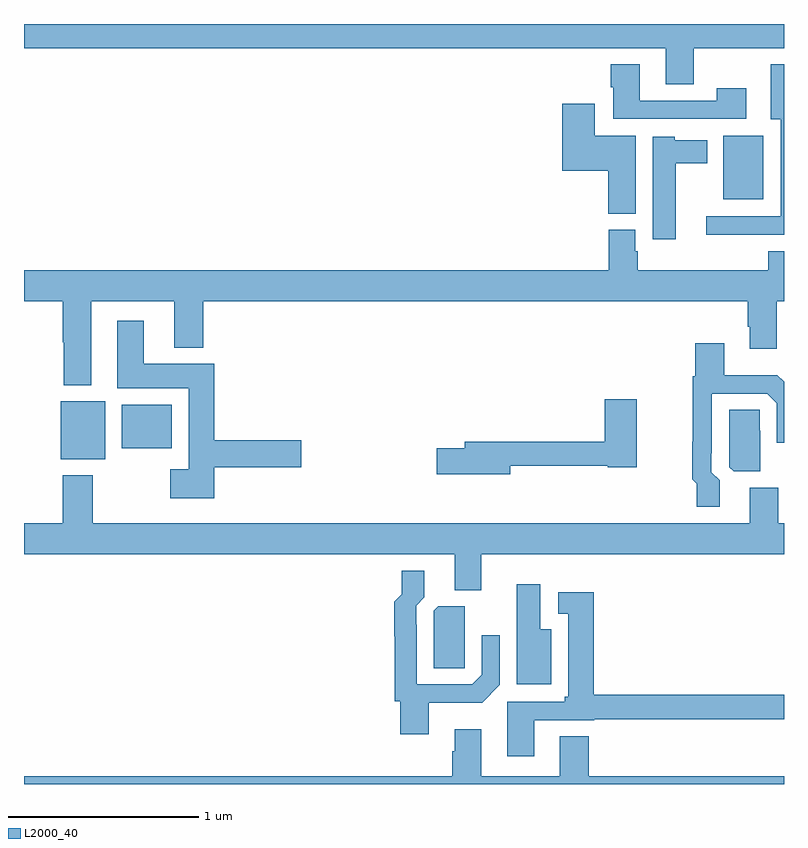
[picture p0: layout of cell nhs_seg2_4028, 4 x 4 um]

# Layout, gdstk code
import gdstk
lib = gdstk.Library(unit=1e-6, precision=1e-09)
def R(c, l, rs):  # rectangles x0, y0, x1, y1
    for r in rs: c.add(gdstk.rectangle(r[:2], r[2:], *l))
def P(c, l, *ps):  # polygons
    for p in ps: c.add(gdstk.Polygon(p, *l))
L2000_40 = (2000, 40)

nhs_seg2_4028 = lib.new_cell('nhs_seg2_4028')
R(nhs_seg2_4028, L2000_40, [(327.194,609.509,327.427,609.814), (327.515,609.566,327.778,609.796), (330.68,610.877,330.892,611.212)])
P(nhs_seg2_4028, L2000_40, [(330.525,611.672),(331,611.672),(331,611.8),(327,611.8),(327,611.672),(330.377,611.672),(330.377,611.482),(330.525,611.482)],
  [(330.802,611.461),(330.646,611.461),(330.646,611.397),(330.241,611.397),(330.241,611.587),(330.089,611.587),(330.089,611.467),(330.101,611.467),(330.101,611.301),(330.802,611.301)],
  [(331,611.587),(330.929,611.587),(330.929,611.3),(330.983,611.3),(330.983,610.788),(330.591,610.788),(330.591,610.691),(331,610.691)],
  [(330.22,611.212),(330.004,611.212),(330.004,611.38),(329.834,611.38),(329.834,611.027),(330.074,611.027),(330.074,610.801),(330.22,610.801)],
  [(330.43,611.066),(330.595,611.066),(330.595,611.188),(330.426,611.188),(330.426,611.206),(330.308,611.206),(330.308,610.668),(330.43,610.668)],
  [(327.355,610.34),(327.791,610.34),(327.791,610.097),(327.944,610.097),(327.944,610.34),(330.809,610.34),(330.809,610.207),(330.821,610.207),(330.821,610.092),(330.961,610.092),(330.961,610.34),(331,610.34),(331,610.603),(330.917,610.603),(330.917,610.504),(330.23,610.504),(330.23,610.605),(330.217,610.605),(330.217,610.716),(330.077,610.716),(330.077,610.504),(327,610.504),(327,610.34),(327.203,610.34),(327.203,610.125),(327.208,610.125),(327.208,609.899),(327.355,609.899)],
  [(328.001,609.466),(328.459,609.466),(328.459,609.608),(328.001,609.608),(328.001,610.012),(327.631,610.012),(327.631,610.237),(327.491,610.237),(327.491,609.884),(327.866,609.884),(327.866,609.457),(327.771,609.457),(327.771,609.305),(328.001,609.305)],
  [(330.661,609.398),(330.618,609.441),(330.618,609.541),(330.621,609.541),(330.621,609.855),(330.912,609.855),(330.963,609.804),(330.963,609.597),(331,609.597),(331,609.917),(330.965,609.952),(330.685,609.952),(330.685,610.12),(330.533,610.12),(330.533,609.945),(330.52,609.945),(330.52,609.602),(330.518,609.602),(330.518,609.405),(330.541,609.381),(330.541,609.258),(330.661,609.258)],
  [(329.56,609.474),(330.072,609.474),(330.072,609.466),(330.226,609.466),(330.226,609.826),(330.056,609.826),(330.056,609.602),(329.321,609.602),(329.321,609.566),(329.172,609.566),(329.172,609.431),(329.56,609.431)],
  [(330.874,609.659),(330.873,609.659),(330.873,609.77),(330.711,609.77),(330.711,609.468),(330.735,609.445),(330.874,609.445)],
  [(329.407,609.008),(331,609.008),(331,609.172),(330.969,609.172),(330.969,609.36),(330.821,609.36),(330.821,609.172),(327.363,609.172),(327.363,609.424),(327.203,609.424),(327.203,609.172),(327,609.172),(327,609.008),(329.267,609.008),(329.267,608.821),(329.407,608.821)],
  [(329.131,608.228),(329.411,608.228),(329.505,608.322),(329.505,608.584),(329.409,608.584),(329.409,608.376),(329.358,608.325),(329.067,608.325),(329.067,608.639),(329.064,608.639),(329.064,608.739),(329.107,608.782),(329.107,608.923),(328.987,608.923),(328.987,608.799),(328.949,608.76),(328.949,608.578),(328.951,608.578),(328.951,608.235),(328.979,608.235),(328.979,608.061),(329.131,608.061)],
  [(329.776,608.614),(329.716,608.614),(329.716,608.851),(329.594,608.851),(329.594,608.324),(329.776,608.324)],
  [(329.686,608.136),(330,608.136),(330,608.142),(331,608.142),(331,608.27),(329.999,608.27),(329.999,608.809),(329.811,608.809),(329.811,608.696),(329.864,608.696),(329.864,608.259),(329.846,608.259),(329.846,608.232),(329.543,608.232),(329.543,607.947),(329.686,607.947)],
  [(329.319,608.521),(329.32,608.521),(329.32,608.736),(329.181,608.736),(329.157,608.712),(329.157,608.41),(329.319,608.41)],
  [(331,607.84),(329.972,607.84),(329.972,608.051),(329.819,608.051),(329.819,607.84),(329.407,607.84),(329.407,608.089),(329.267,608.089),(329.267,607.973),(329.255,607.973),(329.255,607.84),(327,607.84),(327,607.8),(331,607.8)])

lib.write_gds('nhs_seg2_4028.gds')
